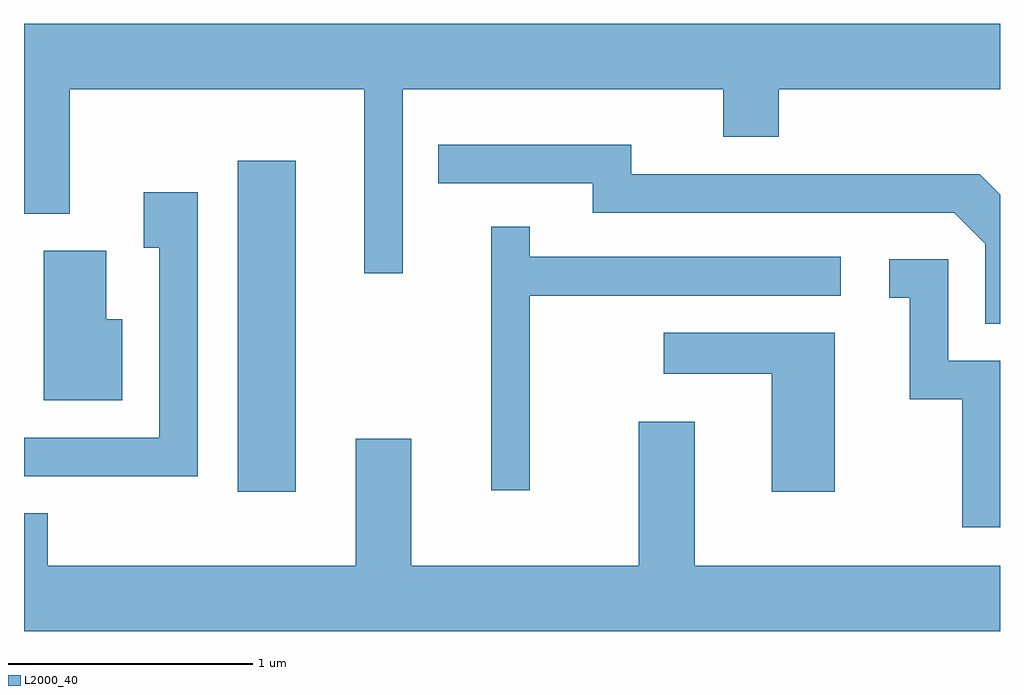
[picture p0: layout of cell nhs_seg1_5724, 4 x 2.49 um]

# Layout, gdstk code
import gdstk
lib = gdstk.Library(unit=1e-6, precision=1e-09)
def R(c, l, rs):  # rectangles x0, y0, x1, y1
    for r in rs: c.add(gdstk.rectangle(r[:2], r[2:], *l))
def P(c, l, *ps):  # polygons
    for p in ps: c.add(gdstk.Polygon(p, *l))
L2000_40 = (2000, 40)

nhs_seg1_5724 = lib.new_cell('nhs_seg1_5724')
R(nhs_seg1_5724, L2000_40, [(358.486,904.586,358.724,905.944)])
P(nhs_seg1_5724, L2000_40, [(357.611,905.726),(357.799,905.726),(357.799,906.236),(359.006,906.236),(359.006,905.483),(359.164,905.483),(359.164,906.236),(360.476,906.236),(360.476,906.041),(360.704,906.041),(360.704,906.236),(361.611,906.236),(361.611,906.504),(357.611,906.504)],
  [(361.611,905.805),(361.527,905.889),(360.099,905.889),(360.099,906.009),(359.308,906.009),(359.308,905.851),(359.941,905.851),(359.941,905.731),(361.424,905.731),(361.551,905.604),(361.551,905.276),(361.611,905.276)],
  [(358.324,905.814),(358.101,905.814),(358.101,905.586),(358.166,905.586),(358.166,904.809),(357.611,904.809),(357.611,904.651),(358.324,904.651)],
  [(359.684,905.391),(360.958,905.391),(360.958,905.549),(359.684,905.549),(359.684,905.673),(359.526,905.673),(359.526,904.593),(359.684,904.593)],
  [(358.014,905.294),(357.949,905.294),(357.949,905.574),(357.691,905.574),(357.691,904.961),(358.014,904.961)],
  [(361.611,905.124),(361.399,905.124),(361.399,905.539),(361.158,905.539),(361.158,905.381),(361.241,905.381),(361.241,904.966),(361.456,904.966),(361.456,904.441),(361.611,904.441)],
  [(360.934,905.239),(360.233,905.239),(360.233,905.071),(360.676,905.071),(360.676,904.586),(360.934,904.586)],
  [(361.611,904.284),(360.359,904.284),(360.359,904.874),(360.131,904.874),(360.131,904.284),(359.199,904.284),(359.199,904.804),(358.971,904.804),(358.971,904.284),(357.709,904.284),(357.709,904.499),(357.611,904.499),(357.611,904.016),(361.611,904.016)])

lib.write_gds('nhs_seg1_5724.gds')
